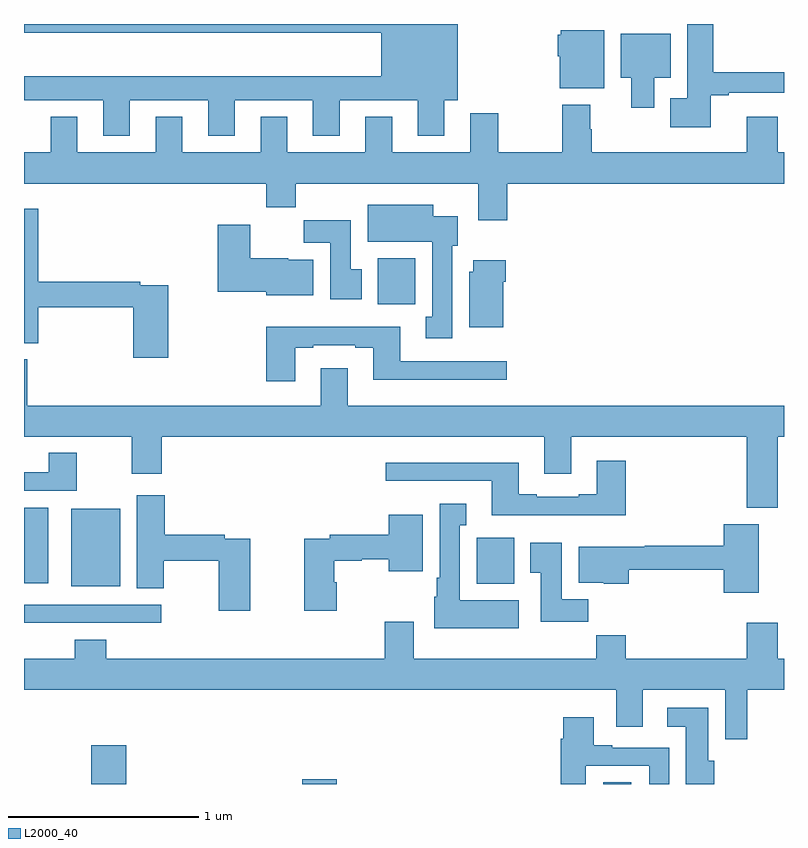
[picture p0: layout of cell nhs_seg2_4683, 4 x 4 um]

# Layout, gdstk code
import gdstk
lib = gdstk.Library(unit=1e-6, precision=1e-09)
def R(c, l, rs):  # rectangles x0, y0, x1, y1
    for r in rs: c.add(gdstk.rectangle(r[:2], r[2:], *l))
def P(c, l, *ps):  # polygons
    for p in ps: c.add(gdstk.Polygon(p, *l))
L2000_40 = (2000, 40)

nhs_seg2_4683 = lib.new_cell('nhs_seg2_4683')
R(nhs_seg2_4683, L2000_40, [(365.354,653.8,365.537,654.004), (366.464,653.8,366.647,653.824), (368.048,653.8,368.197,653.81), (365,654.648,365.722,654.744), (365.249,654.842,365.506,655.249), (367.382,654.854,367.579,655.096), (365,654.857,365.128,655.255), (366.863,656.324,367.06,656.566)])
P(nhs_seg2_4683, L2000_40, [(365.557,657.398),(365.969,657.398),(365.969,657.213),(366.109,657.213),(366.109,657.398),(366.521,657.398),(366.521,657.213),(366.661,657.213),(366.661,657.398),(367.073,657.398),(367.073,657.213),(367.213,657.213),(367.213,657.398),(367.282,657.398),(367.282,657.8),(365,657.8),(365,657.755),(366.881,657.755),(366.881,657.526),(365,657.526),(365,657.398),(365.417,657.398),(365.417,657.213),(365.557,657.213)],
  [(368.614,657.426),(368.71,657.426),(368.71,657.438),(369,657.438),(369,657.547),(368.627,657.547),(368.627,657.8),(368.492,657.8),(368.492,657.409),(368.402,657.409),(368.402,657.257),(368.614,657.257)],
  [(368.053,657.766),(367.824,657.766),(367.824,657.744),(367.808,657.744),(367.808,657.63),(367.82,657.63),(367.82,657.461),(368.053,657.461)],
  [(368.317,657.518),(368.404,657.518),(368.404,657.748),(368.141,657.748),(368.141,657.518),(368.195,657.518),(368.195,657.36),(368.317,657.36)],
  [(367.544,656.96),(369,656.96),(369,657.124),(368.968,657.124),(368.968,657.313),(368.804,657.313),(368.804,657.124),(367.989,657.124),(367.989,657.245),(367.981,657.245),(367.981,657.376),(367.834,657.376),(367.834,657.124),(367.497,657.124),(367.497,657.331),(367.349,657.331),(367.349,657.124),(366.937,657.124),(366.937,657.313),(366.797,657.313),(366.797,657.124),(366.385,657.124),(366.385,657.313),(366.245,657.313),(366.245,657.124),(365.833,657.124),(365.833,657.313),(365.693,657.313),(365.693,657.124),(365.281,657.124),(365.281,657.313),(365.141,657.313),(365.141,657.124),(365,657.124),(365,656.96),(366.275,656.96),(366.275,656.836),(366.431,656.836),(366.431,656.96),(367.391,656.96),(367.391,656.766),(367.544,656.766)],
  [(367.255,656.634),(367.282,656.634),(367.282,656.788),(367.153,656.788),(367.153,656.848),(366.809,656.848),(366.809,656.654),(367.148,656.654),(367.148,656.258),(367.115,656.258),(367.115,656.145),(367.255,656.145)],
  [(365.759,656.424),(365.612,656.424),(365.612,656.444),(365.075,656.444),(365.075,656.827),(365,656.827),(365,656.12),(365.075,656.12),(365.075,656.308),(365.576,656.308),(365.576,656.043),(365.759,656.043)],
  [(366.778,656.508),(366.721,656.508),(366.721,656.766),(366.472,656.766),(366.472,656.648),(366.611,656.648),(366.611,656.352),(366.778,656.352)],
  [(366.523,656.56),(366.39,656.56),(366.39,656.566),(366.19,656.566),(366.19,656.743),(366.02,656.743),(366.02,656.39),(366.276,656.39),(366.276,656.372),(366.523,656.372)],
  [(367.522,656.444),(367.535,656.444),(367.535,656.557),(367.364,656.557),(367.364,656.496),(367.343,656.496),(367.343,656.204),(367.522,656.204)],
  [(366.427,656.097),(366.523,656.097),(366.523,656.109),(366.743,656.109),(366.743,656.097),(366.839,656.097),(366.839,655.928),(367.54,655.928),(367.54,656.025),(366.979,656.025),(366.979,656.206),(366.275,656.206),(366.275,655.92),(366.427,655.92)],
  [(368.968,655.628),(369,655.628),(369,655.792),(366.703,655.792),(366.703,655.987),(366.563,655.987),(366.563,655.792),(365.018,655.792),(365.018,656.035),(365,656.035),(365,655.628),(365.566,655.628),(365.566,655.434),(365.726,655.434),(365.726,655.628),(367.739,655.628),(367.739,655.434),(367.879,655.434),(367.879,655.628),(368.804,655.628),(368.804,655.254),(368.968,655.254)],
  [(365.277,655.543),(365.129,655.543),(365.129,655.44),(365,655.44),(365,655.344),(365.277,655.344)],
  [(368.168,655.501),(368.015,655.501),(368.015,655.324),(367.919,655.324),(367.919,655.311),(367.699,655.311),(367.699,655.324),(367.603,655.324),(367.603,655.492),(366.903,655.492),(366.903,655.395),(367.463,655.395),(367.463,655.214),(368.168,655.214)],
  [(366.19,655.092),(366.056,655.092),(366.056,655.112),(365.741,655.112),(365.741,655.321),(365.594,655.321),(365.594,654.829),(365.736,654.829),(365.736,654.976),(366.025,654.976),(366.025,654.711),(366.19,654.711)],
  [(367.603,654.766),(367.294,654.766),(367.294,655.163),(367.327,655.163),(367.327,655.276),(367.187,655.276),(367.187,654.886),(367.172,654.886),(367.172,654.786),(367.16,654.786),(367.16,654.62),(367.603,654.62)],
  [(366.647,654.861),(366.634,654.861),(366.634,654.976),(366.777,654.976),(366.777,654.984),(366.92,654.984),(366.92,654.92),(367.099,654.92),(367.099,655.216),(366.92,655.216),(366.92,655.112),(366.61,655.112),(366.61,655.092),(366.476,655.092),(366.476,654.711),(366.647,654.711)],
  [(368.867,655.168),(368.684,655.168),(368.684,655.055),(368.266,655.055),(368.266,655.048),(367.919,655.048),(367.919,654.86),(368.052,654.86),(368.052,654.854),(368.183,654.854),(368.183,654.927),(368.684,654.927),(368.684,654.807),(368.867,654.807)],
  [(367.97,654.772),(367.831,654.772),(367.831,655.069),(367.664,655.069),(367.664,654.913),(367.721,654.913),(367.721,654.654),(367.97,654.654)],
  [(368.011,654.584),(368.011,654.46),(367.051,654.46),(367.051,654.655),(366.899,654.655),(366.899,654.46),(365.432,654.46),(365.432,654.559),(365.267,654.559),(365.267,654.46),(365,654.46),(365,654.296),(368.117,654.296),(368.117,654.102),(368.257,654.102),(368.257,654.296),(368.691,654.296),(368.691,654.036),(368.807,654.036),(368.807,654.296),(369,654.296),(369,654.46),(368.968,654.46),(368.968,654.649),(368.804,654.649),(368.804,654.46),(368.168,654.46),(368.168,654.584)],
  [(368.633,653.922),(368.602,653.922),(368.602,654.202),(368.385,654.202),(368.385,654.101),(368.483,654.101),(368.483,653.8),(368.633,653.8)],
  [(367.957,653.895),(368.291,653.895),(368.291,653.8),(368.395,653.8),(368.395,653.991),(368.095,653.991),(368.095,654.004),(367.999,654.004),(367.999,654.151),(367.838,654.151),(367.838,654.038),(367.826,654.038),(367.826,653.8),(367.957,653.8)])

lib.write_gds('nhs_seg2_4683.gds')
